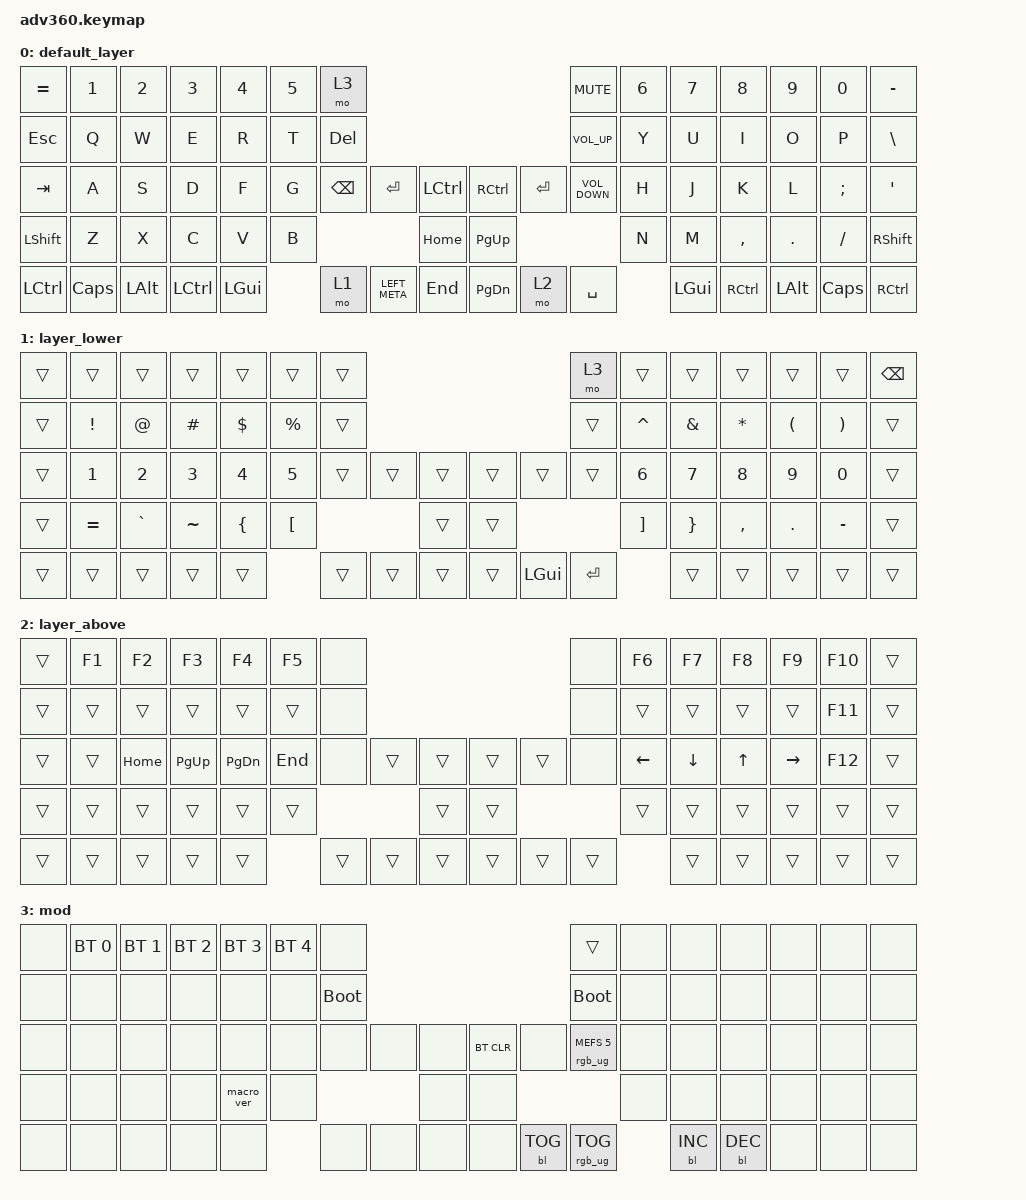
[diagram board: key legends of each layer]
#include <behaviors.dtsi>
#include <dt-bindings/zmk/backlight.h>
#include <dt-bindings/zmk/bt.h>
#include <dt-bindings/zmk/keys.h>
#include <dt-bindings/zmk/rgb.h>

/ {
    behaviors {
        #include "macros.dtsi"
      #include "version.dtsi"
      #ifndef VERSION_MACRO

        macro_ver: macro_ver {
            compatible = "zmk,behavior-macro";
            label = "macro_version";
            #binding-cells = <0>;
            bindings = <&kp RET>;
        };

        #endif

        hm: homerow_mods {
            compatible = "zmk,behavior-hold-tap";
            label = "HOMEROW_MODS";
            #binding-cells = <2>;
            tapping-term-ms = <220>;
            flavor = "balanced";
            bindings = <&kp>, <&kp>;

            quick-tap-ms = <175>;
            require-prior-idle-ms = <50>;
        };
    };

    macros {
    };

    combos {
        compatible = "zmk,combos";

        eq_sign {
            bindings = <&kp EQUAL>;
            key-positions = <40 33>;
        };

        plus {
            bindings = <&kp KP_PLUS>;
            key-positions = <41 32>;
        };

        mius {
            bindings = <&kp KP_MINUS>;
            key-positions = <31 42>;
        };

        underscore {
            bindings = <&kp UNDERSCORE>;
            key-positions = <43 30>;
        };

        escape_jk {
            bindings = <&kp ESCAPE>;
            key-positions = <41 42>;
        };
    };

    keymap {
        compatible = "zmk,keymap";

        default_layer {
            bindings = <
&kp EQUAL   &kp N1        &kp N2        &kp N3     &kp N4    &kp N5  &mo 3                                                                      &kp C_MUTE         &kp N6  &kp N7    &kp N8     &kp N9    &kp N0        &kp MINUS
&kp ESCAPE  &kp Q         &kp W         &kp E      &kp R     &kp T   &kp DELETE                                                                 &kp C_VOLUME_UP    &kp Y   &kp U     &kp I      &kp O     &kp P         &kp BSLH
&kp TAB     &kp A         &kp S         &kp D      &kp F     &kp G   &kp BACKSPACE  &kp ENTER      &kp LCTRL      &kp RIGHT_CONTROL  &kp ENTER  &kp C_VOLUME_DOWN  &kp H   &kp J     &kp K      &kp L     &kp SEMI      &kp SQT
&kp LSHFT   &kp Z         &kp X         &kp C      &kp V     &kp B                                 &kp HOME       &kp PG_UP                                        &kp N   &kp M     &kp COMMA  &kp DOT   &kp FSLH      &kp RSHFT
&kp LCTRL   &kp CAPSLOCK  &kp LEFT_ALT  &kp LCTRL  &kp LGUI          &mo 1          &kp LEFT_META  &kp END        &kp PG_DN          &mo 2      &kp SPACE                  &kp LGUI  &kp RCTRL  &kp LALT  &kp CAPSLOCK  &kp RCTRL
            >;
        };

        layer_lower {
            bindings = <
&trans  &trans           &trans        &trans        &trans          &trans            &trans                                        &mo 3      &trans             &trans           &trans        &trans                &trans                 &kp BACKSPACE
&trans  &kp EXCLAMATION  &kp AT_SIGN   &kp POUND     &kp DOLLAR      &kp PERCENT       &trans                                        &trans     &kp CARET          &kp AMPERSAND    &kp ASTERISK  &kp LEFT_PARENTHESIS  &kp RIGHT_PARENTHESIS  &trans
&trans  &kp NUMBER_1     &kp NUMBER_2  &kp NUMBER_3  &kp NUMBER_4    &kp NUMBER_5      &trans  &trans  &trans      &trans  &trans    &trans     &kp NUMBER_6       &kp NUMBER_7     &kp NUMBER_8  &kp NUMBER_9          &kp NUMBER_0           &trans
&trans  &kp EQUAL        &kp GRAVE     &kp TILDE     &kp LEFT_BRACE  &kp LEFT_BRACKET                  &trans      &trans                       &kp RIGHT_BRACKET  &kp RIGHT_BRACE  &kp COMMA     &kp PERIOD            &kp MINUS              &trans
&trans  &trans           &trans        &trans        &trans                            &trans  &trans  &trans      &trans  &kp LGUI  &kp ENTER                     &trans           &trans        &trans                &trans                 &trans
            >;
        };

        layer_above {
            bindings = <
&trans  &kp F1  &kp F2    &kp F3     &kp F4         &kp F5   &none                                       &none   &kp F6    &kp F7    &kp F8        &kp F9     &kp F10  &trans
&trans  &trans  &trans    &trans     &trans         &trans   &none                                       &none   &trans    &trans    &trans        &trans     &kp F11  &trans
&trans  &trans  &kp HOME  &kp PG_UP  &kp PAGE_DOWN  &kp END  &none   &trans  &trans      &trans  &trans  &none   &kp LEFT  &kp DOWN  &kp UP_ARROW  &kp RIGHT  &kp F12  &trans
&trans  &trans  &trans    &trans     &trans         &trans                   &trans      &trans                  &trans    &trans    &trans        &trans     &trans   &trans
&trans  &trans  &trans    &trans     &trans                  &trans  &trans  &trans      &trans  &trans  &trans            &trans    &trans        &trans     &trans   &trans
            >;
        };

        mod {
            bindings = <
&none  &bt BT_SEL 0  &bt BT_SEL 1  &bt BT_SEL 2  &bt BT_SEL 3  &bt BT_SEL 4  &none                                                  &trans                  &none  &none       &none       &none  &none  &none
&none  &none         &none         &none         &none         &none         &bootloader                                            &bootloader             &none  &none       &none       &none  &none  &none
&none  &none         &none         &none         &none         &none         &none        &none  &none      &bt BT_CLR  &none       &rgb_ug RGB_MEFS_CMD 5  &none  &none       &none       &none  &none  &none
&none  &none         &none         &none         &macro_ver    &none                             &none      &none                                           &none  &none       &none       &none  &none  &none
&none  &none         &none         &none         &none                       &none        &none  &none      &none       &bl BL_TOG  &rgb_ug RGB_TOG                &bl BL_INC  &bl BL_DEC  &none  &none  &none
            >;
        };
    };
};
